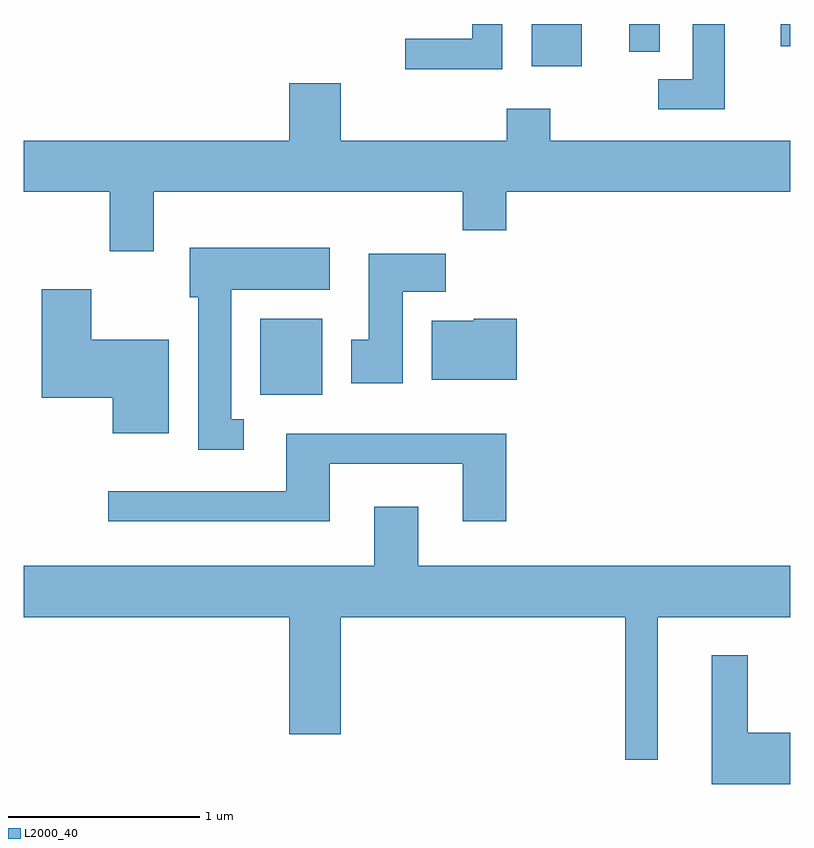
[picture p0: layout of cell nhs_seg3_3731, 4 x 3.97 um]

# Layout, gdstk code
import gdstk
lib = gdstk.Library(unit=1e-6, precision=1e-09)
def R(c, l, rs):  # rectangles x0, y0, x1, y1
    for r in rs: c.add(gdstk.rectangle(r[:2], r[2:], *l))
def P(c, l, *ps):  # polygons
    for p in ps: c.add(gdstk.Polygon(p, *l))
L2000_40 = (2000, 40)

nhs_seg3_3731 = lib.new_cell('nhs_seg3_3731')
R(nhs_seg3_3731, L2000_40, [(294.846,1235.956,295.169,1236.354), (296.261,1237.671,296.524,1237.892), (296.771,1237.748,296.929,1237.892), (297.561,1237.776,297.611,1237.892)])
P(nhs_seg3_3731, L2000_40, [(296.109,1237.892),(295.951,1237.892),(295.951,1237.814),(295.603,1237.814),(295.603,1237.656),(296.109,1237.656)],
  [(297.269,1237.892),(297.101,1237.892),(297.101,1237.604),(296.923,1237.604),(296.923,1237.446),(297.269,1237.446)],
  [(294.289,1237.016),(295.901,1237.016),(295.901,1236.816),(296.129,1236.816),(296.129,1237.016),(297.611,1237.016),(297.611,1237.284),(296.359,1237.284),(296.359,1237.449),(296.131,1237.449),(296.131,1237.284),(295.264,1237.284),(295.264,1237.584),(294.996,1237.584),(294.996,1237.284),(293.611,1237.284),(293.611,1237.016),(294.061,1237.016),(294.061,1236.706),(294.289,1236.706)],
  [(294.758,1235.829),(294.694,1235.829),(294.694,1236.506),(295.209,1236.506),(295.209,1236.724),(294.476,1236.724),(294.476,1236.466),(294.521,1236.466),(294.521,1235.671),(294.758,1235.671)],
  [(295.589,1236.496),(295.814,1236.496),(295.814,1236.694),(295.411,1236.694),(295.411,1236.244),(295.321,1236.244),(295.321,1236.016),(295.589,1236.016)],
  [(294.369,1236.244),(293.964,1236.244),(293.964,1236.509),(293.706,1236.509),(293.706,1235.941),(294.076,1235.941),(294.076,1235.756),(294.369,1235.756)],
  [(296.184,1236.354),(295.96,1236.354),(295.96,1236.344),(295.741,1236.344),(295.741,1236.036),(296.184,1236.036)],
  [(295.209,1235.596),(295.901,1235.596),(295.901,1235.296),(296.129,1235.296),(296.129,1235.754),(294.981,1235.754),(294.981,1235.454),(294.053,1235.454),(294.053,1235.296),(295.209,1235.296)],
  [(296.919,1234.796),(297.611,1234.796),(297.611,1235.064),(295.669,1235.064),(295.669,1235.374),(295.441,1235.374),(295.441,1235.064),(293.611,1235.064),(293.611,1234.796),(294.996,1234.796),(294.996,1234.186),(295.264,1234.186),(295.264,1234.796),(296.751,1234.796),(296.751,1234.053),(296.919,1234.053)],
  [(297.611,1234.194),(297.389,1234.194),(297.389,1234.599),(297.201,1234.599),(297.201,1233.926),(297.611,1233.926)])

lib.write_gds('nhs_seg3_3731.gds')
